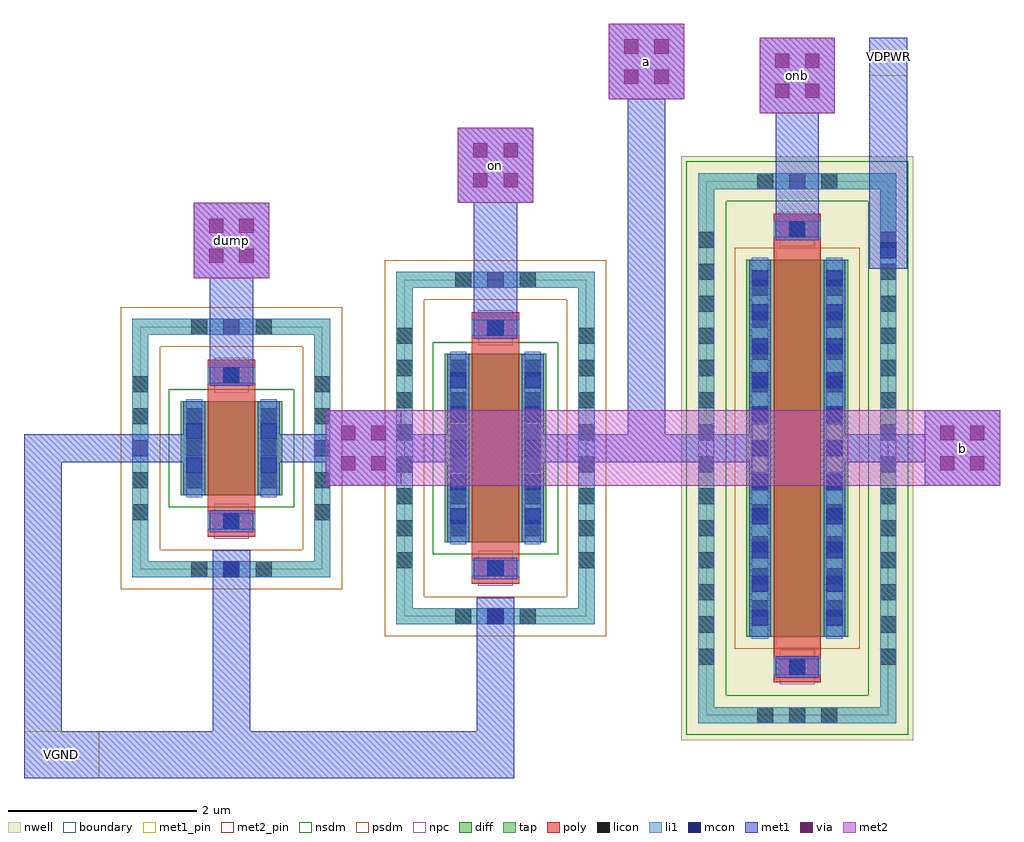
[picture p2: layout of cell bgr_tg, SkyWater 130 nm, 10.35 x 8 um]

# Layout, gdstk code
from math import pi, radians
import gdstk
lib = gdstk.Library(unit=1e-6, precision=1e-09)
def R(c, l, rs):  # rectangles x0, y0, x1, y1
    for r in rs: c.add(gdstk.rectangle(r[:2], r[2:], *l))
def A(c, l, x, y, w, h, nx, ny, dx, dy):  # array of equal rectangles
    R(c, l, [(x+i*dx, y+j*dy, x+i*dx+w, y+j*dy+h) for i in range(nx) for j in range(ny)])
nwell = (64, 20)
diff = (65, 20)
tap = (65, 44)
poly = (66, 20)
licon = (66, 44)
li1 = (67, 20)
mcon = (67, 44)
met1_pin = (68, 16)
met1 = (68, 20)
via = (68, 44)
met2_pin = (69, 16)
met2 = (69, 20)
nsdm = (93, 44)
psdm = (94, 20)
npc = (95, 20)
boundary = (235, 4)

sky130_fd_pr__nfet_01v8_ = lib.new_cell('sky130_fd_pr__nfet_01v8_FGWQMQ')
R(sky130_fd_pr__nfet_01v8_, diff, [(-0.54,-0.5,0.54,0.5)])
R(sky130_fd_pr__nfet_01v8_, tap, [(-1.05,-1.37,1.05,-1.2), (-1.05,-1.2,-0.88,1.2), (0.88,-1.2,1.05,1.2), (-1.05,1.2,1.05,1.37)])
R(sky130_fd_pr__nfet_01v8_, poly, [(-0.25,-0.94,0.25,0.94)])
A(sky130_fd_pr__nfet_01v8_, licon, -0.425, -1.37, 0.17, 0.17, 3, 2, 0.34, 2.57)
A(sky130_fd_pr__nfet_01v8_, licon, -1.05, -0.765, 0.17, 0.17, 1, 5, 0, 0.34)
A(sky130_fd_pr__nfet_01v8_, licon, 0.88, -0.765, 0.17, 0.17, 1, 5, 0, 0.34)
A(sky130_fd_pr__nfet_01v8_, licon, -0.48, -0.425, 0.17, 0.17, 1, 3, 0, 0.34)
A(sky130_fd_pr__nfet_01v8_, licon, 0.31, -0.425, 0.17, 0.17, 1, 3, 0, 0.34)
R(sky130_fd_pr__nfet_01v8_, licon, [(-0.085,-0.86,0.085,-0.69), (-0.085,0.69,0.085,0.86)])
R(sky130_fd_pr__nfet_01v8_, li1, [(-1.05,-1.37,1.05,-1.2), (-1.05,-1.2,-0.88,1.2), (0.88,-1.2,1.05,1.2), (-0.25,-0.86,0.25,-0.69), (-0.48,-0.52,-0.31,0.52), (0.31,-0.52,0.48,0.52), (-0.25,0.69,0.25,0.86), (-1.05,1.2,1.05,1.37)])
R(sky130_fd_pr__nfet_01v8_, mcon, [(-0.085,-0.86,0.085,-0.69), (-0.48,-0.265,-0.31,-0.095), (0.31,-0.265,0.48,-0.095), (-0.48,0.095,-0.31,0.265), (0.31,0.095,0.48,0.265), (-0.085,0.69,0.085,0.86)])
R(sky130_fd_pr__nfet_01v8_, met1, [(-0.23,-0.89,0.23,-0.66), (-0.51,-0.5,-0.28,0.5), (0.28,-0.5,0.51,0.5), (-0.23,0.66,0.23,0.89)])
R(sky130_fd_pr__nfet_01v8_, nsdm, [(-0.665,-0.625,0.665,0.625)])
R(sky130_fd_pr__nfet_01v8_, psdm, [(-1.175,-1.495,1.175,-1.075), (-1.175,-1.075,-0.755,1.075), (0.755,-1.075,1.175,1.075), (-1.175,1.075,1.175,1.495)])
R(sky130_fd_pr__nfet_01v8_, npc, [(-0.185,-0.96,0.185,-0.59), (-0.185,0.59,0.185,0.96)])
R(sky130_fd_pr__nfet_01v8_, boundary, [(-0.965,-1.285,0.965,1.285)])
sky130_fd_pr__nfet_01v8_.add(gdstk.Label('G', (0,0.775), layer=67, texttype=5))
sky130_fd_pr__nfet_01v8_.add(gdstk.Label('S', (0.395,0), layer=67, texttype=5))
sky130_fd_pr__nfet_01v8_.add(gdstk.Label('D', (-0.395,0), layer=67, texttype=5))
sky130_fd_pr__nfet_01v8_.add(gdstk.Label('B', (0,-1.285), layer=67, texttype=5))

c_sky130_fd_pr__nfet_01v8_ = lib.new_cell('sky130_fd_pr__nfet_01v8_AW7V4E')
R(c_sky130_fd_pr__nfet_01v8_, diff, [(-0.54,-1,0.54,1)])
R(c_sky130_fd_pr__nfet_01v8_, tap, [(-1.05,-1.87,1.05,-1.7), (-1.05,-1.7,-0.88,1.7), (0.88,-1.7,1.05,1.7), (-1.05,1.7,1.05,1.87)])
R(c_sky130_fd_pr__nfet_01v8_, poly, [(-0.25,-1.44,0.25,1.44)])
A(c_sky130_fd_pr__nfet_01v8_, licon, -0.425, -1.87, 0.17, 0.17, 3, 2, 0.34, 3.57)
A(c_sky130_fd_pr__nfet_01v8_, licon, -1.05, -1.275, 0.17, 0.17, 1, 8, 0, 0.34)
A(c_sky130_fd_pr__nfet_01v8_, licon, 0.88, -1.275, 0.17, 0.17, 1, 8, 0, 0.34)
A(c_sky130_fd_pr__nfet_01v8_, licon, -0.48, -0.935, 0.17, 0.17, 1, 6, 0, 0.34)
A(c_sky130_fd_pr__nfet_01v8_, licon, 0.31, -0.935, 0.17, 0.17, 1, 6, 0, 0.34)
R(c_sky130_fd_pr__nfet_01v8_, licon, [(-0.085,-1.36,0.085,-1.19), (-0.085,1.19,0.085,1.36)])
R(c_sky130_fd_pr__nfet_01v8_, li1, [(-1.05,-1.87,1.05,-1.7), (-1.05,-1.7,-0.88,1.7), (0.88,-1.7,1.05,1.7), (-0.25,-1.36,0.25,-1.19), (-0.48,-1.02,-0.31,1.02), (0.31,-1.02,0.48,1.02), (-0.25,1.19,0.25,1.36), (-1.05,1.7,1.05,1.87)])
A(c_sky130_fd_pr__nfet_01v8_, mcon, -0.48, -0.805, 0.17, 0.17, 1, 5, 0, 0.36)
A(c_sky130_fd_pr__nfet_01v8_, mcon, 0.31, -0.805, 0.17, 0.17, 1, 5, 0, 0.36)
R(c_sky130_fd_pr__nfet_01v8_, mcon, [(-0.085,-1.36,0.085,-1.19), (-0.085,1.19,0.085,1.36)])
R(c_sky130_fd_pr__nfet_01v8_, met1, [(-0.23,-1.39,0.23,-1.16), (-0.51,-1,-0.28,1), (0.28,-1,0.51,1), (-0.23,1.16,0.23,1.39)])
R(c_sky130_fd_pr__nfet_01v8_, nsdm, [(-0.665,-1.125,0.665,1.125)])
R(c_sky130_fd_pr__nfet_01v8_, psdm, [(-1.175,-1.995,1.175,-1.575), (-1.175,-1.575,-0.755,1.575), (0.755,-1.575,1.175,1.575), (-1.175,1.575,1.175,1.995)])
R(c_sky130_fd_pr__nfet_01v8_, npc, [(-0.185,-1.46,0.185,-1.09), (-0.185,1.09,0.185,1.46)])
R(c_sky130_fd_pr__nfet_01v8_, boundary, [(-0.965,-1.785,0.965,1.785)])
c_sky130_fd_pr__nfet_01v8_.add(gdstk.Label('G', (0,1.275), layer=67, texttype=5))
c_sky130_fd_pr__nfet_01v8_.add(gdstk.Label('S', (0.395,0), layer=67, texttype=5))
c_sky130_fd_pr__nfet_01v8_.add(gdstk.Label('D', (-0.395,0), layer=67, texttype=5))
c_sky130_fd_pr__nfet_01v8_.add(gdstk.Label('B', (0,-1.785), layer=67, texttype=5))

sky130_fd_pr__pfet_01v8_ = lib.new_cell('sky130_fd_pr__pfet_01v8_E7ZUG8')
R(sky130_fd_pr__pfet_01v8_, nwell, [(-1.23,-3.095,1.23,3.095)])
R(sky130_fd_pr__pfet_01v8_, diff, [(-0.54,-2,0.54,2)])
R(sky130_fd_pr__pfet_01v8_, tap, [(-1.05,-2.915,1.05,-2.745), (-1.05,-2.745,-0.88,2.745), (0.88,-2.745,1.05,2.745), (-1.05,2.745,1.05,2.915)])
R(sky130_fd_pr__pfet_01v8_, poly, [(-0.25,-2.485,0.25,2.485)])
A(sky130_fd_pr__pfet_01v8_, licon, -0.425, -2.915, 0.17, 0.17, 3, 2, 0.34, 5.66)
A(sky130_fd_pr__pfet_01v8_, licon, -1.05, -2.295, 0.17, 0.17, 1, 14, 0, 0.34)
A(sky130_fd_pr__pfet_01v8_, licon, 0.88, -2.295, 0.17, 0.17, 1, 14, 0, 0.34)
A(sky130_fd_pr__pfet_01v8_, licon, -0.48, -1.785, 0.17, 0.17, 1, 11, 0, 0.34)
A(sky130_fd_pr__pfet_01v8_, licon, 0.31, -1.785, 0.17, 0.17, 1, 11, 0, 0.34)
R(sky130_fd_pr__pfet_01v8_, licon, [(-0.085,-2.405,0.085,-2.235), (-0.085,2.235,0.085,2.405)])
R(sky130_fd_pr__pfet_01v8_, li1, [(-1.05,-2.915,1.05,-2.745), (-1.05,-2.745,-0.88,2.745), (0.88,-2.745,1.05,2.745), (-0.25,-2.405,0.25,-2.235), (-0.48,-2.02,-0.31,2.02), (0.31,-2.02,0.48,2.02), (-0.25,2.235,0.25,2.405), (-1.05,2.745,1.05,2.915)])
A(sky130_fd_pr__pfet_01v8_, mcon, -0.48, -1.885, 0.17, 0.17, 1, 11, 0, 0.36)
A(sky130_fd_pr__pfet_01v8_, mcon, 0.31, -1.885, 0.17, 0.17, 1, 11, 0, 0.36)
R(sky130_fd_pr__pfet_01v8_, mcon, [(-0.085,-2.405,0.085,-2.235), (-0.085,2.235,0.085,2.405)])
R(sky130_fd_pr__pfet_01v8_, met1, [(-0.23,-2.435,0.23,-2.205), (-0.51,-2,-0.28,2), (0.28,-2,0.51,2), (-0.23,2.205,0.23,2.435)])
R(sky130_fd_pr__pfet_01v8_, nsdm, [(-1.175,-3.04,1.175,-2.62), (-1.175,-2.62,-0.755,2.62), (0.755,-2.62,1.175,2.62), (-1.175,2.62,1.175,3.04)])
R(sky130_fd_pr__pfet_01v8_, psdm, [(-0.665,-2.125,0.665,2.125)])
R(sky130_fd_pr__pfet_01v8_, npc, [(-0.185,-2.505,0.185,-2.135), (-0.185,2.135,0.185,2.505)])
R(sky130_fd_pr__pfet_01v8_, boundary, [(-0.965,-2.83,0.965,2.83)])
sky130_fd_pr__pfet_01v8_.add(gdstk.Label('G', (0,2.32), layer=67, texttype=5))
sky130_fd_pr__pfet_01v8_.add(gdstk.Label('S', (0.395,0), layer=67, texttype=5))
sky130_fd_pr__pfet_01v8_.add(gdstk.Label('D', (-0.395,0), layer=67, texttype=5))
sky130_fd_pr__pfet_01v8_.add(gdstk.Label('B', (0,-2.83), layer=67, texttype=5))

bgr_tg = lib.new_cell('bgr_tg')
R(bgr_tg, li1, [(4.315,1.63,4.485,1.8), (1.515,2.13,1.685,2.3), (8.48,5.515,8.65,5.685)])
R(bgr_tg, mcon, [(4.315,1.63,4.485,1.8), (1.515,2.13,1.685,2.3), (8.48,5.515,8.65,5.685)])
R(bgr_tg, met1_pin, [(-0.6,0,0.2,0.5), (8.365,7.45,8.765,7.85)])
R(bgr_tg, met1, [(-0.6,0,4.6,0.5), (-0.6,0.5,-0.2,3.35), (1.4,0.5,1.8,2.415), (4.2,0.5,4.6,1.915), (2.6,3.1,3.4,3.35), (8.95,3.1,9.75,3.35), (-0.6,3.35,1.32,3.65), (1.88,3.35,4.12,3.65), (4.68,3.35,7.32,3.65), (7.88,3.35,9.75,3.65), (2.6,3.65,3.4,3.9), (5.8,3.65,6.2,7.2), (8.95,3.65,9.75,3.9), (1.37,4.16,1.83,5.3), (4.17,4.66,4.63,6.1), (1.2,5.3,2,6.1), (8.365,5.4,8.765,7.85), (7.37,5.705,7.83,7.05), (4,6.1,4.8,6.9), (7.2,7.05,8,7.85), (5.6,7.2,6.4,8)])
R(bgr_tg, via, [(2.765,3.265,2.915,3.415), (3.085,3.265,3.235,3.415), (9.115,3.265,9.265,3.415), (9.435,3.265,9.585,3.415), (2.765,3.585,2.915,3.735), (3.085,3.585,3.235,3.735), (9.115,3.585,9.265,3.735), (9.435,3.585,9.585,3.735), (1.365,5.465,1.515,5.615), (1.685,5.465,1.835,5.615), (1.365,5.785,1.515,5.935), (1.685,5.785,1.835,5.935), (4.165,6.265,4.315,6.415), (4.485,6.265,4.635,6.415), (4.165,6.585,4.315,6.735), (4.485,6.585,4.635,6.735), (7.365,7.215,7.515,7.365), (7.685,7.215,7.835,7.365), (5.765,7.365,5.915,7.515), (6.085,7.365,6.235,7.515), (7.365,7.535,7.515,7.685), (7.685,7.535,7.835,7.685), (5.765,7.685,5.915,7.835), (6.085,7.685,6.235,7.835)])
R(bgr_tg, met2_pin, [(8.95,3.1,9.75,3.9), (1.2,5.3,2,6.1), (4,6.1,4.8,6.9), (7.2,7.05,8,7.85), (5.6,7.2,6.4,8)])
R(bgr_tg, met2, [(2.6,3.1,9.75,3.9), (1.2,5.3,2,6.1), (4,6.1,4.8,6.9), (7.2,7.05,8,7.85), (5.6,7.2,6.4,8)])
bgr_tg.add(gdstk.Reference(sky130_fd_pr__nfet_01v8_, (1.6,3.5), rotation=pi, x_reflection=True))
bgr_tg.add(gdstk.Reference(c_sky130_fd_pr__nfet_01v8_, (4.4,3.5)))
bgr_tg.add(gdstk.Reference(sky130_fd_pr__pfet_01v8_, (7.6,3.5), rotation=pi, x_reflection=True))
bgr_tg.add(gdstk.Label('a', (6,7.6), layer=69, texttype=5))
bgr_tg.add(gdstk.Label('onb', (7.6,7.45), layer=69, texttype=5))
bgr_tg.add(gdstk.Label('b', (9.35,3.5), layer=69, texttype=5))
bgr_tg.add(gdstk.Label('on', (4.4,6.5), layer=69, texttype=5))
bgr_tg.add(gdstk.Label('dump', (1.6,5.7), layer=69, texttype=5))
bgr_tg.add(gdstk.Label('VDPWR', (8.565,7.65), layer=68, texttype=5))
bgr_tg.add(gdstk.Label('VGND', (-0.2,0.25), layer=68, texttype=5))

lib.write_gds('bgr_tg.gds')
